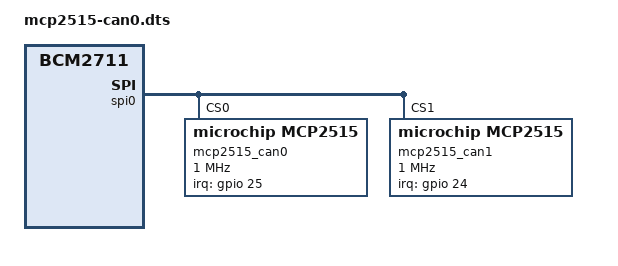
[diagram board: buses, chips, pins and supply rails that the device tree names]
/dts-v1/;
/plugin/;

/ {
    compatible = "brcm,bcm2711";

    fragment@0 {
        target = <&spi0>;
        __overlay__ {
            status = "okay";
            #address-cells = <1>;
            #size-cells = <0>;

            /* First MCP2515 CAN controller */
            mcp2515_can0: mcp2515@0 {
                compatible = "microchip,mcp2515";
                reg = <0>;
                spi-max-frequency = <1000000>; /* 1 MHz */
                interrupt-parent = <&gpio>;
                interrupts = <25 0x2>; /* GPIO 25, IRQ_TYPE_EDGE_FALLING */
                oscillator-frequency = <16000000>; /* 16 MHz crystal */
                status = "okay";
            };

            /* Second MCP2515 CAN controller */
            mcp2515_can1: mcp2515@1 {
                compatible = "microchip,mcp2515";
                reg = <1>;
                spi-max-frequency = <1000000>; /* 1 MHz */
                interrupt-parent = <&gpio>;
                interrupts = <24 0x2>; /* GPIO 24, IRQ_TYPE_EDGE_FALLING */
                oscillator-frequency = <16000000>; /* 16 MHz crystal */
                status = "okay";
            };
        };
    };

    /* Disable the default SPI devices */
    fragment@1 {
        target = <&spidev0>;
        __overlay__ {
            status = "disabled";
        };
    };

    fragment@2 {
        target = <&spidev1>;
        __overlay__ {
            status = "disabled";
        };
    };
};
